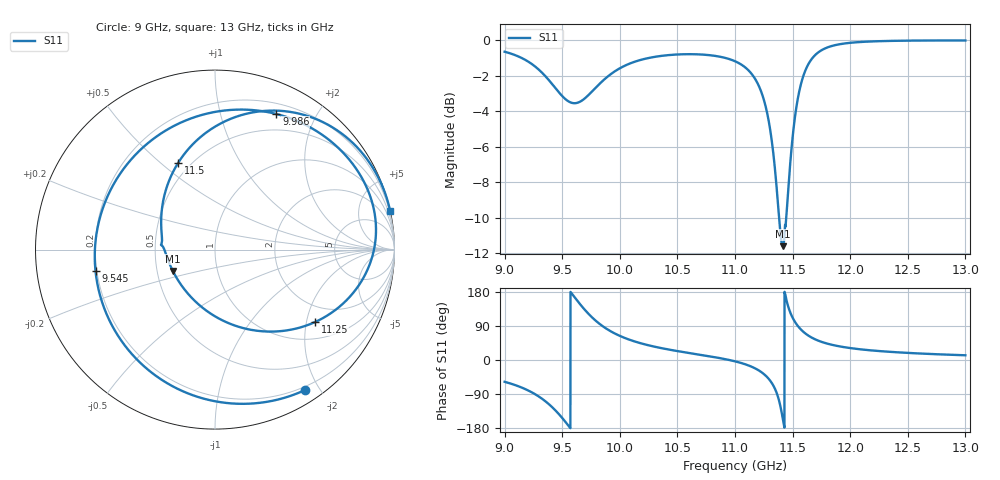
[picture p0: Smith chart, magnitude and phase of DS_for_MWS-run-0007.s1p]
! TOUCHSTONE file generated by CST DESIGN STUDIO
! Date and time: Tue Feb  4 17:41:42 2025
! Project name: C:\Work\MatlabApps\UnitCellOptimizationMatlab\CST\unitcell.cst
! Tree item: Tasks\Sweep1\SPara1\S-Parameters
! Header version: 2024
! Port assignment regex: !\s*Touchstone port\s*([0-9]+)\s*=\s*(CST MWS port|CST DES external port|CST DES block port)\s*(.+)\s* \(\"(.*)\"\)(\s*mode\s*([0-9]+))?.*
! Touchstone port assignment:
! Touchstone port 1 = CST DES external port 1 ("")
# GHz S MA R 50
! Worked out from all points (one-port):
!   4001 points, 9 GHz to 13 GHz, reference 50 ohm
!   lowest |S11| = -11.6 dB at 11.41 GHz (marker M1), VSWR 1.72, Z = 30.2 - j7.72 ohm
!   |S11| at or under -10 dB: 11.38 GHz to 11.44 GHz (61.79 MHz wide, 0.541 % of centre)
!   S11 on the Smith chart (normalised r, x): 9 GHz: 0.16, -1.81; 9.545 GHz: 0.19, -0.09; 9.986 GHz: 0.31, +1.51; 11.25 GHz: 1.47, -2.25; 11.5 GHz: 0.43, +0.57; 13 GHz: 0.03, +9.17
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9  0.929 -57.5
9.152  0.8908 -73.2
9.302  0.8243 -97.4
9.402  0.7607 -121.4
9.5  0.6971 -152.9
9.545  0.6764 -169.8
9.637  0.668 154.1
9.755  0.7158 113.7
9.856  0.7714 88.3
9.986  0.8294 65.6
10  0.8344 63.7
10.214  0.8866 41.5
10.5  0.9126 23.5
11  0.8735 -3.5
11.144  0.805 -17.7
11.246  0.6881 -35.9
11.341  0.4538 -72.2
11.377  0.334 -101.1
11.414  0.2634 -153.2
11.453  0.3449 150.4
11.498  0.5258 112.9
11.5  0.5336 111.7
11.581  0.7709 77.9
11.705  0.915 53.3
11.828  0.9615 41.1
12  0.9843 31.5
12.5  0.9982 18.7
13  0.9992 12.5
